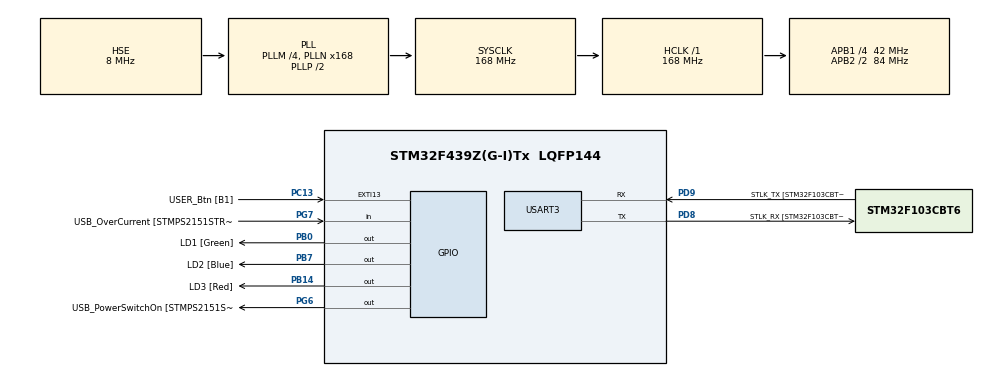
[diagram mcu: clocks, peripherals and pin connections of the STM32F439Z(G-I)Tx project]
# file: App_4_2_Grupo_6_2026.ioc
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Mcu.Family=STM32F4
Mcu.Name=STM32F439Z(G-I)Tx
Mcu.Package=LQFP144
NVIC.PriorityGroup=NVIC_PRIORITYGROUP_4
PA1.GPIO_Label=RMII_REF_CLK [LAN8742A-CZ-TR_REFCLK0]
PA1.Signal=ETH_REF_CLK
PA10.GPIO_Label=USB_ID
PA10.Signal=USB_OTG_FS_ID
PA11.GPIO_Label=USB_DM
PA11.Signal=USB_OTG_FS_DM
PA12.GPIO_Label=USB_DP
PA12.Signal=USB_OTG_FS_DP
PA13.GPIO_Label=TMS
PA13.Mode=Serial_Wire
PA13.Signal=SYS_JTMS-SWDIO
PA14.GPIO_Label=TCK
PA14.Mode=Serial_Wire
PA14.Signal=SYS_JTCK-SWCLK
PA2.GPIO_Label=RMII_MDIO [LAN8742A-CZ-TR_MDIO]
PA2.Signal=ETH_MDIO
PA7.GPIO_Label=RMII_CRS_DV [LAN8742A-CZ-TR_CRS_DV]
PA7.Signal=ETH_CRS_DV
PA8.GPIO_Label=USB_SOF [TP1]
PA8.Signal=USB_OTG_FS_SOF
PA9.GPIO_Label=USB_VBUS
PA9.Signal=USB_OTG_FS_VBUS
PB0.GPIO_Label=LD1 [Green]
PB0.Signal=GPIO_Output
PB13.GPIO_Label=RMII_TXD1 [LAN8742A-CZ-TR_TXD1]
PB13.Signal=ETH_TXD1
PB14.GPIO_Label=LD3 [Red]
PB14.Signal=GPIO_Output
PB7.GPIO_Label=LD2 [Blue]
PB7.Signal=GPIO_Output
PC1.GPIO_Label=RMII_MDC [LAN8742A-CZ-TR_MDC]
PC1.Signal=ETH_MDC
PC13.GPIO_Label=USER_Btn [B1]
PC13.Signal=GPXTI13
PC14/OSC32_IN.Mode=LSE-External-Oscillator
PC14/OSC32_IN.Signal=RCC_OSC32_IN
PC15/OSC32_OUT.Mode=LSE-External-Oscillator
PC15/OSC32_OUT.Signal=RCC_OSC32_OUT
PC4.GPIO_Label=RMII_RXD0 [LAN8742A-CZ-TR_RXD0]
PC4.Signal=ETH_RXD0
PC5.GPIO_Label=RMII_RXD1 [LAN8742A-CZ-TR_RXD1]
PC5.Signal=ETH_RXD1
PD8.GPIO_Label=STLK_RX [STM32F103CBT6_PA3]
PD8.Mode=Asynchronous
PD8.Signal=USART3_TX
PD9.GPIO_Label=STLK_TX [STM32F103CBT6_PA2]
PD9.Mode=Asynchronous
PD9.Signal=USART3_RX
PG11.GPIO_Label=RMII_TX_EN [LAN8742A-CZ-TR_TXEN]
PG11.Signal=ETH_TX_EN
PG13.GPIO_Label=RMII_TXD0 [LAN8742A-CZ-TR_TXD0]
PG13.Signal=ETH_TXD0
PG6.GPIO_Label=USB_PowerSwitchOn [STMPS2151STR_EN]
PG6.Signal=GPIO_Output
PG7.GPIO_Label=USB_OverCurrent [STMPS2151STR_FAULT]
PG7.Signal=GPIO_Input
PH0/OSC_IN.GPIO_Label=MCO [STM32F103CBT6_PA8]
PH0/OSC_IN.Mode=HSE-External-Clock-Source
PH0/OSC_IN.Signal=RCC_OSC_IN
PH1/OSC_OUT.Mode=HSE-External-Clock-Source
PH1/OSC_OUT.Signal=RCC_OSC_OUT
ProjectManager.HeapSize=0x200
ProjectManager.StackSize=0x400
ProjectManager.TargetToolchain=STM32CubeIDE
RCC.48MHZClocksFreq_Value=48000000
RCC.AHBFreq_Value=168000000
RCC.APB1CLKDivider=RCC_HCLK_DIV4
RCC.APB1Freq_Value=42000000
RCC.APB1TimFreq_Value=84000000
RCC.APB2CLKDivider=RCC_HCLK_DIV2
RCC.APB2Freq_Value=84000000
RCC.APB2TimCLKDivider=2
RCC.APB2TimFreq_Value=168000000
RCC.CortexFreq_Value=168000000
RCC.HCLKFreq_Value=168000000
RCC.HSE_VALUE=8000000
RCC.HSI_VALUE=16000000
RCC.PLLM=4
RCC.PLLMUL=RCC_PLL_MUL9
RCC.PLLN=168
RCC.PLLQ=7
RCC.PLLSourceVirtual=RCC_PLLSOURCE_HSE
RCC.PRESCALERUSB=RCC_USBCLKSOURCE_PLL_DIV1_5
RCC.SYSCLKFreq_VALUE=168000000
RCC.SYSCLKSource=RCC_SYSCLKSOURCE_PLLCLK
RCC.SYSCLKSourceVirtual=RCC_SYSCLKSOURCE_PLLCLK
RCC.USBFreq_Value=48000000
RCC.VCOOutputFreq_Value=336000000
USART3.VirtualMode=VM_ASYNC
board=NUCLEO-F439ZI

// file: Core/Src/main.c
/* USER CODE BEGIN Header */
/**
 * @file main.c
 * @author Mamani Flores Carlos (UTN FRT)
 * @brief Aplicación de secuencia de LEDs bidireccional mediante MEF y pulsador.
 * @details Módulo de Capa 3 que gestiona la alternancia de encendido/apagado de LEDs
 *          y la inversión dinámica de giro mediante la detección de flancos del USER_Btn,
 *          utilizando drivers genéricos (LED, Botón, nb_delay) sobre STM32F439ZI Nucleo-144.
 * @version 1.0
 * @date 2026
 *
 * @attention
 * Copyright (c) 2026 STMicroelectronics.
 * All rights reserved.
 */
/* USER CODE END Header */
#include "main.h"

/* USER CODE BEGIN Includes */
#include "driver_led.h"
#include "driver_led_pal.h"
#include "driver_boton.h"
#include "driver_boton_pal.h"
#include "nb_delay.h"
#include "stdbool.h"
/* USER CODE END Includes */

/* USER CODE BEGIN PTD */

/** * @brief Definición de estados para la MEF.
 */
typedef enum{
	Estado_Encendido = 0,
	Estado_Apagado
} Estado_t;

/* USER CODE END PTD */

/* USER CODE BEGIN PD */

// Índices lógicos para identificar todos los botones a utilizar
#define INDICE_BTN_USER 0

/* USER CODE END PD */

UART_HandleTypeDef huart3;

/* USER CODE BEGIN PV */

// Tablas físicas asociadas a la estructura PAL de los drivers
static const BOTON_Hardware_t tabla_botones_hw[] = {
		[INDICE_BTN_USER] = {USER_Btn_GPIO_Port, USER_Btn_Pin, BOTON_ACTIVO_ALTO}
};
static const uint8_t cant_botones = sizeof(tabla_botones_hw) / sizeof(tabla_botones_hw[0]);

static const LED_Hardware_t tabla_leds_hardware[] = {
		{LD1_GPIO_Port, LD1_Pin},
		{LD2_GPIO_Port, LD2_Pin},
		{LD3_GPIO_Port, LD3_Pin}
};
static const uint8_t total_leds = sizeof(tabla_leds_hardware) / sizeof(tabla_leds_hardware[0]);

/* Base de tiempos configurables */
static const tick_t tiempo_alternancia = 200U; // 200 ms por estado de la MEF
static const tick_t tiempo_debounce = 50U;     // 50 ms de ventana antirrebote

/* Variables de control de la MEF y secuencia */
static int8_t indice_led = 0;                  // Índice con signo para decremento seguro
static Estado_t estado_mef = Estado_Encendido;
static int8_t sentido = 1;                     // +1 (avance) o -1 (retroceso)

/* Instancias de temporización no bloqueante */
static nb_delay_t delay_mef;
static nb_delay_t delay_debounce;

/* USER CODE END PV */

void SystemClock_Config(void);
static void MX_GPIO_Init(void);
static void MX_USART3_UART_Init(void);

int main(void)
{

  /* MCU Configuration--------------------------------------------------------*/

  /* Reset of all peripherals, Initializes the Flash interface and the Systick. */
  HAL_Init();

  /* Configure the system clock */
  SystemClock_Config();

  /* Initialize all configured peripherals */
  MX_GPIO_Init();
  MX_USART3_UART_Init();
  /* USER CODE BEGIN 2 */

	/* Inicialización de controladores de Capa 2 */
	LED_Init(tabla_leds_hardware, total_leds);
	BOTON_Init(tabla_botones_hw, cant_botones);

	/* Inicialización de temporizadores no bloqueantes */
	nb_delay_init(&delay_mef, tiempo_alternancia);
	nb_delay_init(&delay_debounce, tiempo_debounce);

  /* USER CODE END 2 */

  /* Infinite loop */
  while (1)
  {

    /* USER CODE BEGIN 3 */

		/*
		 * 1. Polling con antirrebote no bloqueante:
		 * Evalúa el flanco del pulsador cada 50 ms para ignorar el ruido mecánico.
		 */
		if (nb_delay_read(&delay_debounce))
		{
			if (BOTON_DetectarFlancoPresionado(INDICE_BTN_USER))
			{
				sentido = -sentido; // Inversión limpia del sentido de giro
			}
		}

		/*
		 * 2. MEF de secuencia gobernada por el evento de expiración de nb_delay
		 */
		if (nb_delay_read(&delay_mef))
		{
			switch (estado_mef)
			{
			case Estado_Encendido:
				/* Enciende el LED correspondiente al índice activo */
				LED_Write((uint8_t)indice_led, true);

				/* Próximo estado */
				estado_mef = Estado_Apagado;
				break;

			case Estado_Apagado:
				/* Apaga el LED actual */
				LED_Write((uint8_t)indice_led, false);

				/* Cálculo del nuevo índice según el sentido */
				indice_led += sentido;

				/* Lógica circular segura */
				if (indice_led >= (int8_t)LED_GetCount())
				{
					indice_led = 0;
				}
				else if (indice_led < 0)
				{
					indice_led = (int8_t)LED_GetCount() - 1;
				}

				/* Próximo estado */
				estado_mef = Estado_Encendido;
				break;

			default:
				for (uint8_t j = 0U; j < LED_GetCount(); j++)
				{
					LED_Write(j, false);
				}
				indice_led = 0;
				sentido = 1;
				estado_mef = Estado_Encendido;
				break;
			}
		}

	}
  /* USER CODE END 3 */
}

void SystemClock_Config(void)
{
  RCC_OscInitTypeDef RCC_OscInitStruct = {0};
  RCC_ClkInitTypeDef RCC_ClkInitStruct = {0};

  /** Configure the main internal regulator output voltage
  */
  __HAL_RCC_PWR_CLK_ENABLE();
  __HAL_PWR_VOLTAGESCALING_CONFIG(PWR_REGULATOR_VOLTAGE_SCALE1);

  /** Initializes the RCC Oscillators according to the specified parameters
  * in the RCC_OscInitTypeDef structure.
  */
  RCC_OscInitStruct.OscillatorType = RCC_OSCILLATORTYPE_HSE;
  RCC_OscInitStruct.HSEState = RCC_HSE_BYPASS;
  RCC_OscInitStruct.PLL.PLLState = RCC_PLL_ON;
  RCC_OscInitStruct.PLL.PLLSource = RCC_PLLSOURCE_HSE;
  RCC_OscInitStruct.PLL.PLLM = 4;
  RCC_OscInitStruct.PLL.PLLN = 168;
  RCC_OscInitStruct.PLL.PLLP = RCC_PLLP_DIV2;
  RCC_OscInitStruct.PLL.PLLQ = 7;
  if (HAL_RCC_OscConfig(&RCC_OscInitStruct) != HAL_OK)
  {
    Error_Handler();
  }

  /** Initializes the CPU, AHB and APB buses clocks
  */
  RCC_ClkInitStruct.ClockType = RCC_CLOCKTYPE_HCLK|RCC_CLOCKTYPE_SYSCLK
                              |RCC_CLOCKTYPE_PCLK1|RCC_CLOCKTYPE_PCLK2;
  RCC_ClkInitStruct.SYSCLKSource = RCC_SYSCLKSOURCE_PLLCLK;
  RCC_ClkInitStruct.AHBCLKDivider = RCC_SYSCLK_DIV1;
  RCC_ClkInitStruct.APB1CLKDivider = RCC_HCLK_DIV4;
  RCC_ClkInitStruct.APB2CLKDivider = RCC_HCLK_DIV2;

  if (HAL_RCC_ClockConfig(&RCC_ClkInitStruct, FLASH_LATENCY_5) != HAL_OK)
  {
    Error_Handler();
  }
}

static void MX_USART3_UART_Init(void)
{

  huart3.Instance = USART3;
  huart3.Init.BaudRate = 115200;
  huart3.Init.WordLength = UART_WORDLENGTH_8B;
  huart3.Init.StopBits = UART_STOPBITS_1;
  huart3.Init.Parity = UART_PARITY_NONE;
  huart3.Init.Mode = UART_MODE_TX_RX;
  huart3.Init.HwFlowCtl = UART_HWCONTROL_NONE;
  huart3.Init.OverSampling = UART_OVERSAMPLING_16;
  if (HAL_UART_Init(&huart3) != HAL_OK)
  {
    Error_Handler();
  }

}

static void MX_GPIO_Init(void)
{
  GPIO_InitTypeDef GPIO_InitStruct = {0};

  /* GPIO Ports Clock Enable */
  __HAL_RCC_GPIOC_CLK_ENABLE();
  __HAL_RCC_GPIOH_CLK_ENABLE();
  __HAL_RCC_GPIOA_CLK_ENABLE();
  __HAL_RCC_GPIOB_CLK_ENABLE();
  __HAL_RCC_GPIOD_CLK_ENABLE();
  __HAL_RCC_GPIOG_CLK_ENABLE();

  /*Configure GPIO pin Output Level */
  HAL_GPIO_WritePin(GPIOB, LD1_Pin|LD3_Pin|LD2_Pin, GPIO_PIN_RESET);

  /*Configure GPIO pin Output Level */
  HAL_GPIO_WritePin(USB_PowerSwitchOn_GPIO_Port, USB_PowerSwitchOn_Pin, GPIO_PIN_RESET);

  /*Configure GPIO pin : USER_Btn_Pin */
  GPIO_InitStruct.Pin = USER_Btn_Pin;
  GPIO_InitStruct.Mode = GPIO_MODE_IT_RISING;
  GPIO_InitStruct.Pull = GPIO_NOPULL;
  HAL_GPIO_Init(USER_Btn_GPIO_Port, &GPIO_InitStruct);

  /*Configure GPIO pins : RMII_MDC_Pin RMII_RXD0_Pin RMII_RXD1_Pin */
  GPIO_InitStruct.Pin = RMII_MDC_Pin|RMII_RXD0_Pin|RMII_RXD1_Pin;
  GPIO_InitStruct.Mode = GPIO_MODE_AF_PP;
  GPIO_InitStruct.Pull = GPIO_NOPULL;
  GPIO_InitStruct.Speed = GPIO_SPEED_FREQ_VERY_HIGH;
  GPIO_InitStruct.Alternate = GPIO_AF11_ETH;
  HAL_GPIO_Init(GPIOC, &GPIO_InitStruct);

  /*Configure GPIO pins : RMII_REF_CLK_Pin RMII_MDIO_Pin RMII_CRS_DV_Pin */
  GPIO_InitStruct.Pin = RMII_REF_CLK_Pin|RMII_MDIO_Pin|RMII_CRS_DV_Pin;
  GPIO_InitStruct.Mode = GPIO_MODE_AF_PP;
  GPIO_InitStruct.Pull = GPIO_NOPULL;
  GPIO_InitStruct.Speed = GPIO_SPEED_FREQ_VERY_HIGH;
  GPIO_InitStruct.Alternate = GPIO_AF11_ETH;
  HAL_GPIO_Init(GPIOA, &GPIO_InitStruct);

  /*Configure GPIO pins : LD1_Pin LD3_Pin LD2_Pin */
  GPIO_InitStruct.Pin = LD1_Pin|LD3_Pin|LD2_Pin;
  GPIO_InitStruct.Mode = GPIO_MODE_OUTPUT_PP;
  GPIO_InitStruct.Pull = GPIO_NOPULL;
  GPIO_InitStruct.Speed = GPIO_SPEED_FREQ_LOW;
  HAL_GPIO_Init(GPIOB, &GPIO_InitStruct);

  /*Configure GPIO pin : RMII_TXD1_Pin */
  GPIO_InitStruct.Pin = RMII_TXD1_Pin;
  GPIO_InitStruct.Mode = GPIO_MODE_AF_PP;
  GPIO_InitStruct.Pull = GPIO_NOPULL;
  GPIO_InitStruct.Speed = GPIO_SPEED_FREQ_VERY_HIGH;
  GPIO_InitStruct.Alternate = GPIO_AF11_ETH;
  HAL_GPIO_Init(RMII_TXD1_GPIO_Port, &GPIO_InitStruct);

  /*Configure GPIO pin : USB_PowerSwitchOn_Pin */
  GPIO_InitStruct.Pin = USB_PowerSwitchOn_Pin;
  GPIO_InitStruct.Mode = GPIO_MODE_OUTPUT_PP;
  GPIO_InitStruct.Pull = GPIO_NOPULL;
  GPIO_InitStruct.Speed = GPIO_SPEED_FREQ_LOW;
  HAL_GPIO_Init(USB_PowerSwitchOn_GPIO_Port, &GPIO_InitStruct);

  /*Configure GPIO pin : USB_OverCurrent_Pin */
  GPIO_InitStruct.Pin = USB_OverCurrent_Pin;
  GPIO_InitStruct.Mode = GPIO_MODE_INPUT;
  GPIO_InitStruct.Pull = GPIO_NOPULL;
  HAL_GPIO_Init(USB_OverCurrent_GPIO_Port, &GPIO_InitStruct);

  /*Configure GPIO pins : USB_SOF_Pin USB_ID_Pin USB_DM_Pin USB_DP_Pin */
  GPIO_InitStruct.Pin = USB_SOF_Pin|USB_ID_Pin|USB_DM_Pin|USB_DP_Pin;
  GPIO_InitStruct.Mode = GPIO_MODE_AF_PP;
  GPIO_InitStruct.Pull = GPIO_NOPULL;
  GPIO_InitStruct.Speed = GPIO_SPEED_FREQ_VERY_HIGH;
  GPIO_InitStruct.Alternate = GPIO_AF10_OTG_FS;
  HAL_GPIO_Init(GPIOA, &GPIO_InitStruct);

  /*Configure GPIO pin : USB_VBUS_Pin */
  GPIO_InitStruct.Pin = USB_VBUS_Pin;
  GPIO_InitStruct.Mode = GPIO_MODE_INPUT;
  GPIO_InitStruct.Pull = GPIO_NOPULL;
  HAL_GPIO_Init(USB_VBUS_GPIO_Port, &GPIO_InitStruct);

  /*Configure GPIO pins : RMII_TX_EN_Pin RMII_TXD0_Pin */
  GPIO_InitStruct.Pin = RMII_TX_EN_Pin|RMII_TXD0_Pin;
  GPIO_InitStruct.Mode = GPIO_MODE_AF_PP;
  GPIO_InitStruct.Pull = GPIO_NOPULL;
  GPIO_InitStruct.Speed = GPIO_SPEED_FREQ_VERY_HIGH;
  GPIO_InitStruct.Alternate = GPIO_AF11_ETH;
  HAL_GPIO_Init(GPIOG, &GPIO_InitStruct);

}

void Error_Handler(void)
{
  __disable_irq();
  while (1)
  {
  }
}
